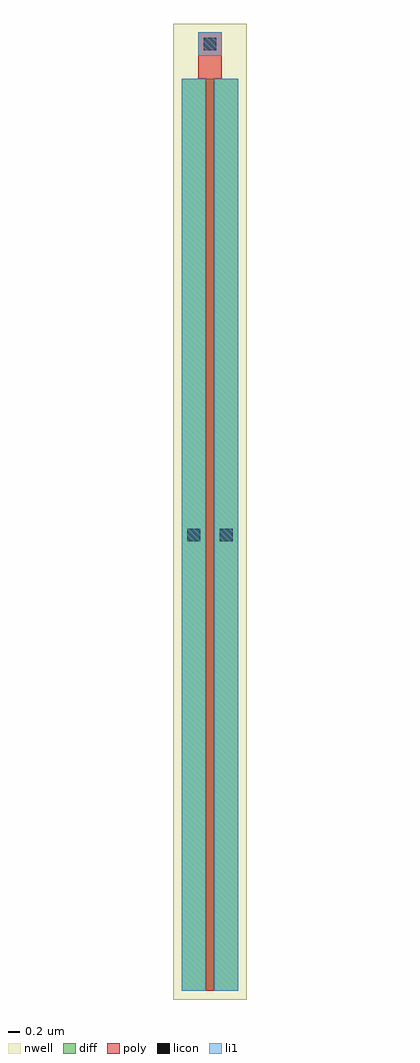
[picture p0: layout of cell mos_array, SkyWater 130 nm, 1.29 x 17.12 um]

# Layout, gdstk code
import gdstk
lib = gdstk.Library(unit=1e-6, precision=1e-09)
def R(c, l, rs):  # rectangles x0, y0, x1, y1
    for r in rs: c.add(gdstk.rectangle(r[:2], r[2:], *l))
nwell = (64, 20)
diff = (65, 20)
poly = (66, 20)
licon = (66, 44)
li1 = (67, 20)

mos_array = lib.new_cell('mos_array')
R(mos_array, nwell, [(-0.15,-0.15,1.14,16.97)])
R(mos_array, diff, [(0,0,0.99,16)])
R(mos_array, poly, [(0.42,0,0.57,16), (0.285,16,0.705,16.82)])
R(mos_array, licon, [(0.1,7.89,0.32,8.11), (0.67,7.89,0.89,8.11), (0.385,16.5,0.605,16.72)])
R(mos_array, li1, [(0,0,0.42,16), (0.57,0,0.99,16), (0.285,16.4,0.705,16.82)])

lib.write_gds('mos_array.gds')
